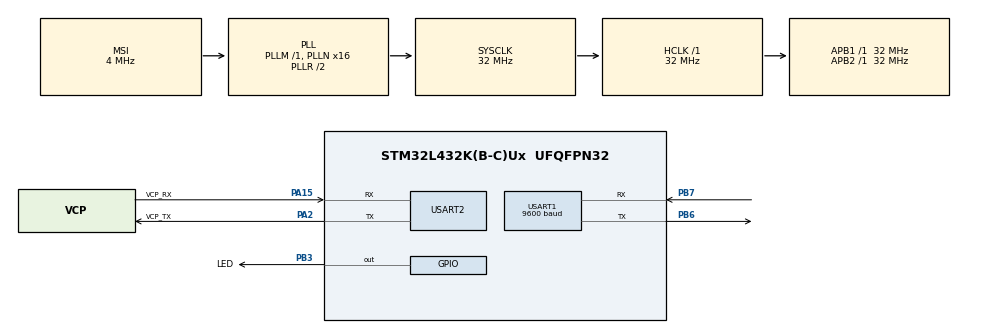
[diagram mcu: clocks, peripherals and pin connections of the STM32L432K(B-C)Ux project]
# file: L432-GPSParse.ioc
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Mcu.Family=STM32L4
Mcu.Name=STM32L432K(B-C)Ux
Mcu.Package=UFQFPN32
NVIC.PriorityGroup=NVIC_PRIORITYGROUP_4
NVIC.USART1_IRQn=true\:0\:0\:false\:false\:true\:true\:true\:true
PA0.GPIO_Label=MCO [High speed clock in]
PA0.Mode=HSE-External-Clock-Source-for-LittleOrca
PA0.Signal=RCC_CK_IN
PA13\ (JTMS-SWDIO).GPIO_Label=SWDIO
PA13\ (JTMS-SWDIO).Mode=Serial_Wire
PA13\ (JTMS-SWDIO).Signal=SYS_JTMS-SWDIO
PA14\ (JTCK-SWCLK).GPIO_Label=SWCLK
PA14\ (JTCK-SWCLK).Mode=Serial_Wire
PA14\ (JTCK-SWCLK).Signal=SYS_JTCK-SWCLK
PA15\ (JTDI).GPIO_Label=VCP_RX
PA15\ (JTDI).Mode=Asynchronous
PA15\ (JTDI).Signal=USART2_RX
PA2.GPIO_Label=VCP_TX
PA2.Mode=Asynchronous
PA2.Signal=USART2_TX
PB3\ (JTDO-TRACESWO).GPIO_Label=LED
PB3\ (JTDO-TRACESWO).Signal=GPIO_Output
PB6.Mode=Asynchronous
PB6.Signal=USART1_TX
PB7.Mode=Asynchronous
PB7.Signal=USART1_RX
PC14-OSC32_IN\ (PC14).Mode=LSE-External-Oscillator
PC14-OSC32_IN\ (PC14).Signal=RCC_OSC32_IN
PC15-OSC32_OUT\ (PC15).Mode=LSE-External-Oscillator
PC15-OSC32_OUT\ (PC15).Signal=RCC_OSC32_OUT
ProjectManager.HeapSize=0x200
ProjectManager.StackSize=0x400
ProjectManager.TargetToolchain=STM32CubeIDE
RCC.AHBFreq_Value=32000000
RCC.APB1Freq_Value=32000000
RCC.APB1TimFreq_Value=32000000
RCC.APB2Freq_Value=32000000
RCC.APB2TimFreq_Value=32000000
RCC.CortexFreq_Value=32000000
RCC.HCLKFreq_Value=32000000
RCC.HSE_VALUE=8000000
RCC.HSI16_VALUE=16000000
RCC.HSI48_VALUE=48000000
RCC.HSI_VALUE=16000000
RCC.MSI_VALUE=4000000
RCC.PLLMUL=RCC_PLLMUL_4
RCC.PLLN=16
RCC.SYSCLKFreq_VALUE=32000000
RCC.SYSCLKSource=RCC_SYSCLKSOURCE_PLLCLK
RCC.VCOOutputFreq_Value=64000000
USART1.BaudRate=9600
USART1.VirtualMode-Asynchronous=VM_ASYNC
USART2.VirtualMode-Asynchronous=VM_ASYNC
VP_RTC_VS_RTC_Activate.Mode=RTC_Enabled
board=NUCLEO-L432KC

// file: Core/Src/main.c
/* USER CODE BEGIN Header */
/**
  ******************************************************************************
  * @file           : main.c
  * @brief          : Main program body
  ******************************************************************************
  * @attention
  *
  * Copyright (c) 2026 STMicroelectronics.
  * All rights reserved.
  *
  * This software is licensed under terms that can be found in the LICENSE file
  * in the root directory of this software component.
  * If no LICENSE file comes with this software, it is provided AS-IS.
  *
  ******************************************************************************
  */
/* USER CODE END Header */
#include "main.h"

/* USER CODE BEGIN Includes */
#include <stdio.h>
#include <string.h>
#include <stdarg.h>
#include <stdint.h>
#include <stdlib.h>
/* USER CODE END Includes */

/* USER CODE BEGIN PD */
#define TRUE 1
#define FALSE 0
/* USER CODE END PD */

RTC_HandleTypeDef hrtc;

UART_HandleTypeDef huart1;
UART_HandleTypeDef huart2;

/* USER CODE BEGIN PV */
#define GPS_DIAG 			0
#define GPS_RX_BUF_SIZE   	512
#define GPS_PROC_BUF_SIZE 	512
#define NMEA_LINE_MAX     	128
char UsrString[100] = {0};
static uint8_t gpsRxBuf[GPS_RX_BUF_SIZE];

// buffer handed off to main loop
static volatile uint16_t gpsProcLen = 0;
static uint8_t gpsProcBuf[GPS_PROC_BUF_SIZE];
static volatile uint8_t gpsChunkReady = 0;
static volatile uint32_t gps_isr_chunks = 0;

// NMEA line assembly state (used in main loop now)
static uint8_t  nmeaLine[NMEA_LINE_MAX];
static uint16_t nmeaIdx = 0;

// output to user
static volatile uint8_t gps_dt_ready = 0;
static char gps_dt_msg[80];

// Diagnostics
static volatile uint32_t isr_chunks = 0;
static volatile uint32_t isr_drops  = 0;

// RTC variables
static volatile uint8_t rtc_sync_ready = 0;
static volatile int rtc_yy, rtc_mm, rtc_dd, rtc_hh, rtc_mi, rtc_ss;
static uint8_t rtc_has_been_synced = 0;

/* USER CODE END PV */

void SystemClock_Config(void);
static void MX_GPIO_Init(void);
static void MX_USART2_UART_Init(void);
static void MX_USART1_UART_Init(void);
static void MX_RTC_Init(void);
/* USER CODE BEGIN PFP */
void PrintSerial(char *format,...);
static int  nmea_checksum_ok(const char *s);
static void process_nmea_line(const char *line);
static int  parse_rmc_datetime_utc(const char *line,
                                  int *yy, int *mm, int *dd,
                                  int *hh, int *mi, int *ss);
static uint8_t rtc_weekday_from_ymd(int y, int m, int d);
static void rtc_set_utc_from_gps(int y, int m, int d, int hh, int mi, int ss);
/* USER CODE END PFP */

int main(void)
{

  /* MCU Configuration--------------------------------------------------------*/

  /* Reset of all peripherals, Initializes the Flash interface and the Systick. */
  HAL_Init();

  /* Configure the system clock */
  SystemClock_Config();

  /* Initialize all configured peripherals */
  MX_GPIO_Init();
  MX_USART2_UART_Init();
  MX_USART1_UART_Init();
  MX_RTC_Init();
  /* USER CODE BEGIN 2 */
  HAL_StatusTypeDef st = HAL_UARTEx_ReceiveToIdle_IT(&huart1, gpsRxBuf, GPS_RX_BUF_SIZE);

  #if GPS_DIAG
    char msg[64];
	snprintf(msg, sizeof(msg), "Start RxToIdle: %d\r\n", (int)st);
	HAL_UART_Transmit(&huart2, (uint8_t*)msg, (uint16_t)strlen(msg), 200);
  #endif

  #if GPS_DIAG
    const char *boot = "BOOT: GPS parser start\r\n";
    HAL_UART_Transmit(&huart2, (uint8_t*)boot, (uint16_t)strlen(boot), 200);
  #endif

  // Start receive-to-idle on USART1
  HAL_UARTEx_ReceiveToIdle_IT(&huart1, gpsRxBuf, GPS_RX_BUF_SIZE);

  // Optional: disable Half Transfer interrupt if DMA is used under the hood (safe to call anyway)
  // __HAL_UART_DISABLE_IT(&huart1, UART_IT_HT);

  /* USER CODE END 2 */

  /* Infinite loop */
  /* USER CODE BEGIN WHILE */
  while (1)
  {
	  // Process any received chunk from ISR
	      if (gpsChunkReady)
	      {
	          // While gpsChunkReady == 1, ISR will NOT overwrite gpsProcBuf
	          uint16_t len = gpsProcLen;
	          if (len > GPS_PROC_BUF_SIZE) len = GPS_PROC_BUF_SIZE;

	          for (uint16_t i = 0; i < len; i++)
	          {
	              uint8_t c = gpsProcBuf[i];

	              if (c == '\r')
	                  continue;

	              if (c == '\n')
	              {
	                  // terminate line
	                  if (nmeaIdx < NMEA_LINE_MAX) nmeaLine[nmeaIdx] = '\0';
	                  else nmeaLine[NMEA_LINE_MAX - 1] = '\0';

	                  if (nmeaIdx > 0)
	                      process_nmea_line((const char*)nmeaLine);

	                  nmeaIdx = 0;
	              }
	              else
	              {
	                  if (nmeaIdx < (NMEA_LINE_MAX - 1))
	                      nmeaLine[nmeaIdx++] = c;
	                  else
	                      nmeaIdx = 0; // overflow: drop this line
	              }
	          }

	          // Now safe to release buffer for ISR to write next chunk
	          gpsChunkReady = 0;
	      }

	      // Transmit parsed datetime when ready (never from ISR)
	      if (gps_dt_ready)
	      {
	          gps_dt_ready = 0;
	          HAL_UART_Transmit(&huart2, (uint8_t*)gps_dt_msg,
	                            (uint16_t)strlen(gps_dt_msg), 200);
	      }

	  #if GPS_DIAG
	      // Heartbeat/counters once per second
	      static uint32_t t0 = 0;
	      if (HAL_GetTick() - t0 >= 1000)
	      {
	          t0 = HAL_GetTick();
	          char msg[96];
	          snprintf(msg, sizeof(msg),
	                   "HB chunks=%lu drops=%lu ready=%u\r\n",
	                   (unsigned long)isr_chunks,
	                   (unsigned long)isr_drops,
	                   (unsigned)gpsChunkReady);
	          HAL_UART_Transmit(&huart2, (uint8_t*)msg, (uint16_t)strlen(msg), 200);
	      }
	  #endif

	      if (rtc_sync_ready)
	      {
	          rtc_sync_ready = 0;
	          rtc_set_utc_from_gps(rtc_yy, rtc_mm, rtc_dd, rtc_hh, rtc_mi, rtc_ss);

	          // Optional confirmation:
			  #if GPS_DIAG
	            HAL_UART_Transmit(&huart2, (uint8_t*)"RTC synced\r\n", 12, 200);
			  #endif
	      }

	      RTC_TimeTypeDef t;
	      RTC_DateTypeDef d;

	      HAL_RTC_GetTime(&hrtc, &t, RTC_FORMAT_BIN);
	      HAL_RTC_GetDate(&hrtc, &d, RTC_FORMAT_BIN); // must be called after GetTime

	      char msg[80];
	      snprintf(msg, sizeof(msg), "RTC: 20%02u-%02u-%02u %02u:%02u:%02u\r\n",
	               d.Year, d.Month, d.Date, t.Hours, t.Minutes, t.Seconds);
		  #if GPS_DIAG
	        HAL_UART_Transmit(&huart2, (uint8_t*)msg, (uint16_t)strlen(msg), 200);
          #endif

    /* USER CODE END WHILE */

  }
}

void SystemClock_Config(void)
{
  RCC_OscInitTypeDef RCC_OscInitStruct = {0};
  RCC_ClkInitTypeDef RCC_ClkInitStruct = {0};

  /** Configure the main internal regulator output voltage
  */
  if (HAL_PWREx_ControlVoltageScaling(PWR_REGULATOR_VOLTAGE_SCALE1) != HAL_OK)
  {
    Error_Handler();
  }

  /** Configure LSE Drive Capability
  */
  HAL_PWR_EnableBkUpAccess();
  __HAL_RCC_LSEDRIVE_CONFIG(RCC_LSEDRIVE_LOW);

  /** Initializes the RCC Oscillators according to the specified parameters
  * in the RCC_OscInitTypeDef structure.
  */
  RCC_OscInitStruct.OscillatorType = RCC_OSCILLATORTYPE_LSI|RCC_OSCILLATORTYPE_LSE
                              |RCC_OSCILLATORTYPE_MSI;
  RCC_OscInitStruct.LSEState = RCC_LSE_ON;
  RCC_OscInitStruct.LSIState = RCC_LSI_ON;
  RCC_OscInitStruct.MSIState = RCC_MSI_ON;
  RCC_OscInitStruct.MSICalibrationValue = 0;
  RCC_OscInitStruct.MSIClockRange = RCC_MSIRANGE_6;
  RCC_OscInitStruct.PLL.PLLState = RCC_PLL_ON;
  RCC_OscInitStruct.PLL.PLLSource = RCC_PLLSOURCE_MSI;
  RCC_OscInitStruct.PLL.PLLM = 1;
  RCC_OscInitStruct.PLL.PLLN = 16;
  RCC_OscInitStruct.PLL.PLLP = RCC_PLLP_DIV7;
  RCC_OscInitStruct.PLL.PLLQ = RCC_PLLQ_DIV2;
  RCC_OscInitStruct.PLL.PLLR = RCC_PLLR_DIV2;
  if (HAL_RCC_OscConfig(&RCC_OscInitStruct) != HAL_OK)
  {
    Error_Handler();
  }

  /** Initializes the CPU, AHB and APB buses clocks
  */
  RCC_ClkInitStruct.ClockType = RCC_CLOCKTYPE_HCLK|RCC_CLOCKTYPE_SYSCLK
                              |RCC_CLOCKTYPE_PCLK1|RCC_CLOCKTYPE_PCLK2;
  RCC_ClkInitStruct.SYSCLKSource = RCC_SYSCLKSOURCE_PLLCLK;
  RCC_ClkInitStruct.AHBCLKDivider = RCC_SYSCLK_DIV1;
  RCC_ClkInitStruct.APB1CLKDivider = RCC_HCLK_DIV1;
  RCC_ClkInitStruct.APB2CLKDivider = RCC_HCLK_DIV1;

  if (HAL_RCC_ClockConfig(&RCC_ClkInitStruct, FLASH_LATENCY_1) != HAL_OK)
  {
    Error_Handler();
  }

  /** Enable MSI Auto calibration
  */
  HAL_RCCEx_EnableMSIPLLMode();
}

static void MX_RTC_Init(void)
{

  /** Initialize RTC Only
  */
  hrtc.Instance = RTC;
  hrtc.Init.HourFormat = RTC_HOURFORMAT_24;
  hrtc.Init.AsynchPrediv = 127;
  hrtc.Init.SynchPrediv = 255;
  hrtc.Init.OutPut = RTC_OUTPUT_DISABLE;
  hrtc.Init.OutPutRemap = RTC_OUTPUT_REMAP_NONE;
  hrtc.Init.OutPutPolarity = RTC_OUTPUT_POLARITY_HIGH;
  hrtc.Init.OutPutType = RTC_OUTPUT_TYPE_OPENDRAIN;
  if (HAL_RTC_Init(&hrtc) != HAL_OK)
  {
    Error_Handler();
  }

}

static void MX_USART1_UART_Init(void)
{

  huart1.Instance = USART1;
  huart1.Init.BaudRate = 9600;
  huart1.Init.WordLength = UART_WORDLENGTH_8B;
  huart1.Init.StopBits = UART_STOPBITS_1;
  huart1.Init.Parity = UART_PARITY_NONE;
  huart1.Init.Mode = UART_MODE_TX_RX;
  huart1.Init.HwFlowCtl = UART_HWCONTROL_NONE;
  huart1.Init.OverSampling = UART_OVERSAMPLING_16;
  huart1.Init.OneBitSampling = UART_ONE_BIT_SAMPLE_DISABLE;
  huart1.AdvancedInit.AdvFeatureInit = UART_ADVFEATURE_NO_INIT;
  if (HAL_UART_Init(&huart1) != HAL_OK)
  {
    Error_Handler();
  }

}

static void MX_USART2_UART_Init(void)
{

  huart2.Instance = USART2;
  huart2.Init.BaudRate = 115200;
  huart2.Init.WordLength = UART_WORDLENGTH_8B;
  huart2.Init.StopBits = UART_STOPBITS_1;
  huart2.Init.Parity = UART_PARITY_NONE;
  huart2.Init.Mode = UART_MODE_TX_RX;
  huart2.Init.HwFlowCtl = UART_HWCONTROL_NONE;
  huart2.Init.OverSampling = UART_OVERSAMPLING_16;
  huart2.Init.OneBitSampling = UART_ONE_BIT_SAMPLE_DISABLE;
  huart2.AdvancedInit.AdvFeatureInit = UART_ADVFEATURE_NO_INIT;
  if (HAL_UART_Init(&huart2) != HAL_OK)
  {
    Error_Handler();
  }

}

static void MX_GPIO_Init(void)
{
  GPIO_InitTypeDef GPIO_InitStruct = {0};

  /* GPIO Ports Clock Enable */
  __HAL_RCC_GPIOC_CLK_ENABLE();
  __HAL_RCC_GPIOA_CLK_ENABLE();
  __HAL_RCC_GPIOB_CLK_ENABLE();

  /*Configure GPIO pin Output Level */
  HAL_GPIO_WritePin(LED_GPIO_Port, LED_Pin, GPIO_PIN_RESET);

  /*Configure GPIO pin : LED_Pin */
  GPIO_InitStruct.Pin = LED_Pin;
  GPIO_InitStruct.Mode = GPIO_MODE_OUTPUT_PP;
  GPIO_InitStruct.Pull = GPIO_NOPULL;
  GPIO_InitStruct.Speed = GPIO_SPEED_FREQ_LOW;
  HAL_GPIO_Init(LED_GPIO_Port, &GPIO_InitStruct);

}

/* USER CODE BEGIN 4 */

// Returns 1..7 = Monday..Sunday (HAL convention: RTC_WEEKDAY_MONDAY etc.)
static uint8_t rtc_weekday_from_ymd(int y, int m, int d)
{
    // Sakamoto algorithm. 0=Sunday..6=Saturday
    static const int t[] = {0, 3, 2, 5, 0, 3, 5, 1, 4, 6, 2, 4};
    if (m < 3) y -= 1;
    int w = (y + y/4 - y/100 + y/400 + t[m-1] + d) % 7;

    // Convert: 0=Sunday..6=Saturday -> 1=Monday..7=Sunday
    // w=1 means Monday already? Actually w=0 Sunday.
    // Map: Sunday(0)->7, Monday(1)->1, Tuesday(2)->2, ... Saturday(6)->6
    if (w == 0) return 7;
    return (uint8_t)w;
}

static void rtc_set_utc_from_gps(int y, int m, int d, int hh, int mi, int ss)
{
    RTC_TimeTypeDef sTime = {0};
    RTC_DateTypeDef sDate = {0};

    // Use BIN format (recommended)
    sTime.Hours = (uint8_t)hh;
    sTime.Minutes = (uint8_t)mi;
    sTime.Seconds = (uint8_t)ss;
    sTime.DayLightSaving = RTC_DAYLIGHTSAVING_NONE;
    sTime.StoreOperation = RTC_STOREOPERATION_RESET;

    // STM32 HAL RTC year is 0..99
    sDate.Year = (uint8_t)(y % 100);
    sDate.Month = (uint8_t)m;
    sDate.Date = (uint8_t)d;

    // WeekDay: RTC_WEEKDAY_MONDAY (1) .. RTC_WEEKDAY_SUNDAY (7)
    sDate.WeekDay = rtc_weekday_from_ymd(y, m, d);

    // IMPORTANT: per STM32 RTC rules, set TIME then DATE (or follow your reference manual),
    // and use consistent format (RTC_FORMAT_BIN here).
    if (HAL_RTC_SetTime(&hrtc, &sTime, RTC_FORMAT_BIN) != HAL_OK)
    {
        // optional: error handling
        return;
    }

    if (HAL_RTC_SetDate(&hrtc, &sDate, RTC_FORMAT_BIN) != HAL_OK)
    {
        // optional: error handling
        return;
    }
}

void HAL_UARTEx_RxEventCallback(UART_HandleTypeDef *huart, uint16_t Size)
{
    if (huart->Instance == USART1)
    {
        // Count callbacks (optional; remove if you don't want diagnostics)
        isr_chunks++;

        // If the main loop hasn't consumed the previous chunk yet, drop this one
        if (gpsChunkReady)
        {
            isr_drops++;
        }
        else
        {
            // Bound size to our processing buffer
            if (Size > GPS_PROC_BUF_SIZE) Size = GPS_PROC_BUF_SIZE;

            // Copy received bytes to a buffer the main loop will parse
            memcpy(gpsProcBuf, gpsRxBuf, Size);
            gpsProcLen = Size;

            // Mark ready AFTER copying length+data
            gpsChunkReady = 1;
        }

        // Re-arm reception immediately so we don't miss bytes
        // (This must be called every time you get an event.)
        HAL_UARTEx_ReceiveToIdle_IT(&huart1, gpsRxBuf, GPS_RX_BUF_SIZE);
    }
}

void HAL_UART_ErrorCallback(UART_HandleTypeDef *huart)
{
    // If any UART error happens on USART1, re-arm reception
    if (huart->Instance == USART1)
    {
        HAL_UARTEx_ReceiveToIdle_IT(&huart1, gpsRxBuf, GPS_RX_BUF_SIZE);
    }
}

// NMEA checksum: sentence "$....*HH"
static int nmea_checksum_ok(const char *s)
{
    if (!s || s[0] != '$') return 0;

    const char *star = strchr(s, '*');
    if (!star) return 0;

    uint8_t cs = 0;
    for (const char *p = s + 1; p < star; p++)
        cs ^= (uint8_t)(*p);

    if (strlen(star) < 3) return 0;

    char hh[3] = { star[1], star[2], 0 };
    uint8_t sent = (uint8_t)strtoul(hh, NULL, 16);

    return (cs == sent);
}

// Parse UTC time+date from $GPRMC / $GNRMC (status must be 'A')
static int parse_rmc_datetime_utc(const char *line,
                                 int *yy, int *mm, int *dd,
                                 int *hh, int *mi, int *ss)
{
    // Accept $GPRMC or $GNRMC
    if (strncmp(line, "$GPRMC", 6) != 0 && strncmp(line, "$GNRMC", 6) != 0)
        return 0;

    // Helper: get pointer+length of NMEA field index (0-based after $GxRMC)
    // Field mapping (RMC):
    // 0: $GxRMC
    // 1: time hhmmss.sss
    // 2: status A/V
    // ...
    // 9: date ddmmyy
    const char *p = line;
    int field = 0;

    const char *f1 = NULL; int f1_len = 0; // time
    const char *f2 = NULL; int f2_len = 0; // status
    const char *f9 = NULL; int f9_len = 0; // date

    // Walk through characters, splitting on ',' but PRESERVING empty fields
    const char *start = p;
    while (*p && *p != '\r' && *p != '\n')
    {
        if (*p == ',' || *p == '*')  // '*' begins checksum, end of data fields
        {
            int len = (int)(p - start);

            if (field == 1) { f1 = start; f1_len = len; }
            if (field == 2) { f2 = start; f2_len = len; }
            if (field == 9) { f9 = start; f9_len = len; }

            if (*p == '*') break;    // stop at checksum marker

            field++;
            p++;
            start = p;
            continue;
        }
        p++;
    }

    // If line ended without ',' processing last field (unlikely for RMC), handle it:
    if (*p == '\0' || *p == '\r' || *p == '\n')
    {
        int len = (int)(p - start);
        if (field == 1) { f1 = start; f1_len = len; }
        if (field == 2) { f2 = start; f2_len = len; }
        if (field == 9) { f9 = start; f9_len = len; }
    }

    // Validate we got needed fields
    if (!f1 || !f2 || !f9) return 0;
    if (f2_len < 1) return 0;
    if (f2[0] != 'A') return 0; // need valid fix

    // Time: need at least hhmmss
    if (f1_len < 6) return 0;
    int HH = (f1[0]-'0')*10 + (f1[1]-'0');
    int MI = (f1[2]-'0')*10 + (f1[3]-'0');
    int SS = (f1[4]-'0')*10 + (f1[5]-'0');

    // Date: ddmmyy
    if (f9_len < 6) return 0;
    int DD = (f9[0]-'0')*10 + (f9[1]-'0');
    int MM = (f9[2]-'0')*10 + (f9[3]-'0');
    int YY = (f9[4]-'0')*10 + (f9[5]-'0');

    *yy = 2000 + YY;
    *mm = MM;
    *dd = DD;
    *hh = HH;
    *mi = MI;
    *ss = SS;
    return 1;
}

static void process_nmea_line(const char *line)
{
    //if (!nmea_checksum_ok(line))
     //   return;

    int yy, mm, dd, hh, mi, ss;
    if (parse_rmc_datetime_utc(line, &yy, &mm, &dd, &hh, &mi, &ss))
    {
        snprintf(gps_dt_msg, sizeof(gps_dt_msg),
                 "GPS UTC: %04d-%02d-%02d %02d:%02d:%02d\r\n",
                 yy, mm, dd, hh, mi, ss);
        gps_dt_ready = 1;
    }

    // Request RTC sync in main loop

    if (!rtc_has_been_synced)
    {
        rtc_yy = yy; rtc_mm = mm; rtc_dd = dd;
        rtc_hh = hh; rtc_mi = mi; rtc_ss = ss;
        rtc_sync_ready = 1;
        rtc_has_been_synced = 1;
    }
}

void PrintSerial(char *format,...)
{

	char str[80];

	/*Extract the the argument list using VA apis */
  	va_list args;
  	va_start(args, format);
  	vsprintf(str, format,args);
  	HAL_UART_Transmit(&huart2,(uint8_t *)str, strlen(str),HAL_MAX_DELAY);
  	va_end(args);

}

/* USER CODE END 4 */

void Error_Handler(void)
{
  __disable_irq();
  while (1)
  {
  }
}
